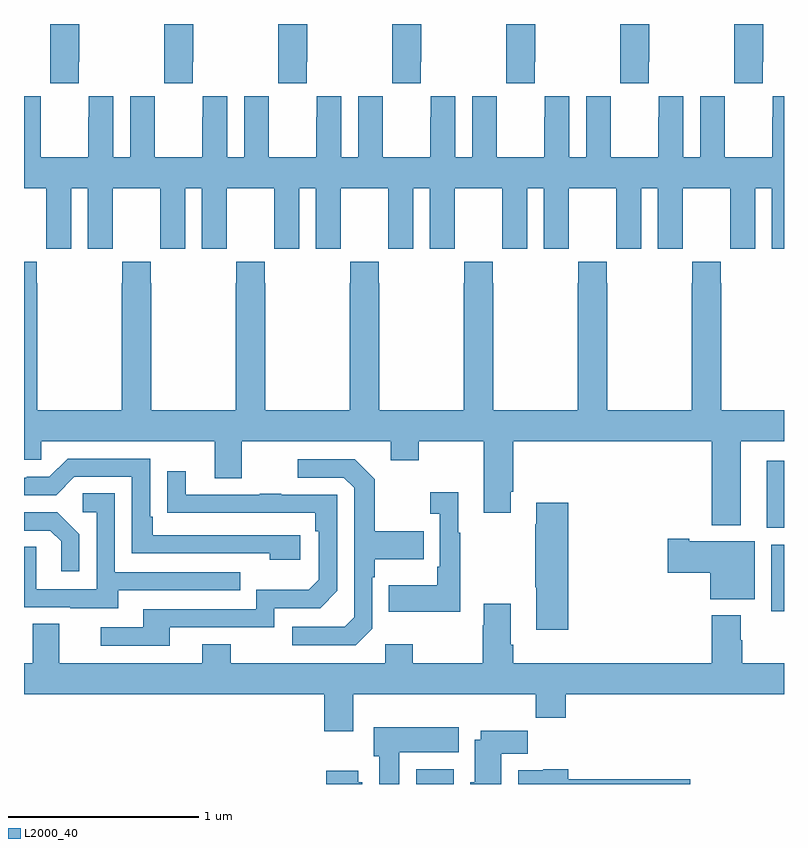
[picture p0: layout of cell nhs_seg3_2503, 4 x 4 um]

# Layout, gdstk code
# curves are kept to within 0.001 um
import gdstk
lib = gdstk.Library(unit=1e-6, precision=1e-09)
def R(c, l, rs):  # rectangles x0, y0, x1, y1
    for r in rs: c.add(gdstk.rectangle(r[:2], r[2:], *l))
def P(c, l, *ps):  # polygons
    for p in ps: c.add(gdstk.Polygon(p, *l))
L2000_40 = (2000, 40)

nhs_seg3_2503 = lib.new_cell('nhs_seg3_2503')
R(nhs_seg3_2503, L2000_40, [(241.064,744.4,241.261,744.478), (242.933,745.308,243,745.66), (242.909,745.748,243,746.101)])
P(nhs_seg3_2503, L2000_40, [(239.889,748.201),(239.892,748.201),(239.892,748.4),(239.737,748.4),(239.737,748.201),(239.739,748.201),(239.739,748.089),(239.889,748.089)],
  [(239.289,748.201),(239.292,748.201),(239.292,748.4),(239.137,748.4),(239.137,748.201),(239.139,748.201),(239.139,748.089),(239.289,748.089)],
  [(242.889,748.201),(242.892,748.201),(242.892,748.4),(242.737,748.4),(242.737,748.201),(242.739,748.201),(242.739,748.089),(242.889,748.089)],
  [(242.289,748.201),(242.292,748.201),(242.292,748.4),(242.137,748.4),(242.137,748.201),(242.139,748.201),(242.139,748.089),(242.289,748.089)],
  [(241.089,748.201),(241.092,748.201),(241.092,748.4),(240.937,748.4),(240.937,748.201),(240.939,748.201),(240.939,748.089),(241.089,748.089)],
  [(240.489,748.201),(240.492,748.201),(240.492,748.4),(240.337,748.4),(240.337,748.201),(240.339,748.201),(240.339,748.089),(240.489,748.089)],
  [(241.689,748.201),(241.692,748.201),(241.692,748.4),(241.537,748.4),(241.537,748.201),(241.539,748.201),(241.539,748.089),(241.689,748.089)],
  [(242.466,747.328),(242.467,747.328),(242.467,747.536),(242.717,747.536),(242.717,747.328),(242.718,747.328),(242.718,747.216),(242.848,747.216),(242.848,747.536),(242.936,747.536),(242.936,747.216),(243,747.216),(243,748.021),(242.94,748.021),(242.94,747.908),(242.939,747.908),(242.939,747.7),(242.689,747.7),(242.689,747.908),(242.688,747.908),(242.688,748.021),(242.558,748.021),(242.558,747.7),(242.47,747.7),(242.47,748.021),(242.34,748.021),(242.34,747.908),(242.339,747.908),(242.339,747.7),(242.089,747.7),(242.089,747.908),(242.088,747.908),(242.088,748.021),(241.958,748.021),(241.958,747.7),(241.87,747.7),(241.87,748.021),(241.74,748.021),(241.74,747.908),(241.739,747.908),(241.739,747.7),(241.489,747.7),(241.489,747.908),(241.488,747.908),(241.488,748.021),(241.358,748.021),(241.358,747.7),(241.27,747.7),(241.27,748.021),(241.14,748.021),(241.14,747.908),(241.139,747.908),(241.139,747.7),(240.889,747.7),(240.889,747.908),(240.888,747.908),(240.888,748.021),(240.758,748.021),(240.758,747.7),(240.67,747.7),(240.67,748.021),(240.54,748.021),(240.54,747.908),(240.539,747.908),(240.539,747.7),(240.289,747.7),(240.289,747.908),(240.288,747.908),(240.288,748.021),(240.158,748.021),(240.158,747.7),(240.07,747.7),(240.07,748.021),(239.94,748.021),(239.94,747.908),(239.939,747.908),(239.939,747.7),(239.689,747.7),(239.689,747.908),(239.688,747.908),(239.688,748.021),(239.558,748.021),(239.558,747.7),(239.47,747.7),(239.47,748.021),(239.34,748.021),(239.34,747.908),(239.339,747.908),(239.339,747.7),(239.089,747.7),(239.089,747.908),(239.088,747.908),(239.088,748.021),(239,748.021),(239,747.536),(239.117,747.536),(239.117,747.328),(239.118,747.328),(239.118,747.216),(239.248,747.216),(239.248,747.536),(239.336,747.536),(239.336,747.216),(239.466,747.216),(239.466,747.328),(239.467,747.328),(239.467,747.536),(239.717,747.536),(239.717,747.328),(239.718,747.328),(239.718,747.216),(239.848,747.216),(239.848,747.536),(239.936,747.536),(239.936,747.216),(240.066,747.216),(240.066,747.328),(240.067,747.328),(240.067,747.536),(240.317,747.536),(240.317,747.328),(240.318,747.328),(240.318,747.216),(240.448,747.216),(240.448,747.536),(240.536,747.536),(240.536,747.216),(240.666,747.216),(240.666,747.328),(240.667,747.328),(240.667,747.536),(240.917,747.536),(240.917,747.328),(240.918,747.328),(240.918,747.216),(241.048,747.216),(241.048,747.536),(241.136,747.536),(241.136,747.216),(241.266,747.216),(241.266,747.328),(241.267,747.328),(241.267,747.536),(241.517,747.536),(241.517,747.328),(241.518,747.328),(241.518,747.216),(241.648,747.216),(241.648,747.536),(241.736,747.536),(241.736,747.216),(241.866,747.216),(241.866,747.328),(241.867,747.328),(241.867,747.536),(242.117,747.536),(242.117,747.328),(242.118,747.328),(242.118,747.216),(242.248,747.216),(242.248,747.536),(242.336,747.536),(242.336,747.216),(242.466,747.216)],
  [(242.773,746.204),(243,746.204),(243,746.368),(242.67,746.368),(242.67,747.035),(242.667,747.035),(242.667,747.148),(242.517,747.148),(242.517,747.035),(242.515,747.035),(242.515,746.368),(242.07,746.368),(242.07,747.035),(242.067,747.035),(242.067,747.148),(241.917,747.148),(241.917,747.035),(241.915,747.035),(241.915,746.368),(241.47,746.368),(241.47,747.035),(241.467,747.035),(241.467,747.148),(241.317,747.148),(241.317,747.035),(241.315,747.035),(241.315,746.368),(240.87,746.368),(240.87,747.035),(240.867,747.035),(240.867,747.148),(240.717,747.148),(240.717,747.035),(240.715,747.035),(240.715,746.368),(240.27,746.368),(240.27,747.035),(240.267,747.035),(240.267,747.148),(240.117,747.148),(240.117,747.035),(240.115,747.035),(240.115,746.368),(239.67,746.368),(239.67,747.035),(239.667,747.035),(239.667,747.148),(239.517,747.148),(239.517,747.035),(239.515,747.035),(239.515,746.368),(239.07,746.368),(239.07,747.035),(239.067,747.035),(239.067,747.148),(239,747.148),(239,746.106),(239.091,746.106),(239.091,746.204),(240.005,746.204),(240.005,746.01),(240.145,746.01),(240.145,746.204),(240.929,746.204),(240.929,746.105),(241.077,746.105),(241.077,746.204),(241.421,746.204),(241.421,745.827),(241.561,745.827),(241.561,745.939),(241.574,745.939),(241.574,746.204),(242.621,746.204),(242.621,745.763),(242.773,745.763)],
  [(240.454,745.71),(239.677,745.71),(239.677,745.807),(239.664,745.807),(239.664,746.112),(239.229,746.112),(239.133,746.016),(239.015,746.016),(239.015,746.013),(239,746.013),(239,745.92),(239.169,745.92),(239.265,746.016),(239.568,746.016),(239.568,745.614),(240.293,745.614),(240.293,745.58),(240.454,745.58)],
  [(240.834,745.218),(240.834,745.487),(240.847,745.487),(240.847,745.583),(241.103,745.583),(241.103,745.731),(240.847,745.731),(240.847,746.003),(240.741,746.109),(240.441,746.109),(240.441,746.013),(240.684,746.013),(240.738,745.959),(240.738,745.278),(240.687,745.227),(240.411,745.227),(240.411,745.131),(240.747,745.131)],
  [(239.767,745.224),(240.318,745.224),(240.318,745.326),(240.558,745.326),(240.648,745.416),(240.648,745.923),(240.353,745.923),(240.353,745.928),(240.241,745.928),(240.241,745.923),(239.851,745.923),(239.851,746.047),(239.755,746.047),(239.755,745.828),(240.532,745.827),(240.532,745.73),(240.552,745.73),(240.552,745.476),(240.499,745.423),(240.222,745.423),(240.222,745.32),(239.627,745.32),(239.627,745.224),(239.403,745.224),(239.403,745.128),(239.767,745.128)],
  [(241.297,745.723),(241.285,745.723),(241.285,745.936),(241.137,745.936),(241.137,745.823),(241.188,745.823),(241.188,745.543),(241.176,745.543),(241.176,745.447),(240.919,745.447),(240.919,745.307),(241.297,745.307)],
  [(239.497,745.419),(240.137,745.419),(240.137,745.515),(239.478,745.515),(239.478,745.931),(239.31,745.931),(239.31,745.83),(239.382,745.83),(239.382,745.425),(239.064,745.425),(239.064,745.649),(239,745.649),(239,745.329),(239.243,745.329),(239.243,745.325),(239.497,745.325)],
  [(241.865,745.879),(241.697,745.879),(241.697,745.766),(241.69,745.766),(241.69,745.435),(241.697,745.435),(241.697,745.212),(241.865,745.212)],
  [(239.292,745.714),(239.176,745.83),(239,745.83),(239,745.734),(239.138,745.734),(239.195,745.677),(239.195,745.521),(239.292,745.521)],
  [(242.845,745.678),(242.5,745.678),(242.5,745.691),(242.388,745.691),(242.388,745.513),(242.612,745.513),(242.612,745.373),(242.845,745.373)],
  [(240.733,744.872),(241.693,744.872),(241.693,744.748),(241.85,744.748),(241.85,744.872),(243,744.872),(243,745.036),(242.781,745.036),(242.781,745.157),(242.773,745.157),(242.773,745.288),(242.621,745.288),(242.621,745.036),(241.574,745.036),(241.574,745.132),(241.561,745.132),(241.561,745.348),(241.421,745.348),(241.421,745.235),(241.414,745.235),(241.414,745.036),(241.047,745.036),(241.047,745.135),(240.9,745.135),(240.9,745.036),(240.087,745.036),(240.087,745.135),(239.939,745.135),(239.939,745.036),(239.185,745.036),(239.185,745.244),(239.045,745.244),(239.045,745.036),(239,745.036),(239,744.872),(240.581,744.872),(240.581,744.678),(240.733,744.678)],
  [(240.976,744.566),(241.288,744.566),(241.288,744.7),(240.842,744.7),(240.842,744.546),(240.869,744.546),(240.869,744.4),(240.976,744.4)],
  [(241.513,744.56),(241.652,744.56),(241.652,744.679),(241.403,744.679),(241.403,744.634),(241.373,744.634),(241.373,744.408),(241.349,744.408),(241.349,744.4),(241.513,744.4)],
  [(242.506,744.424),(241.865,744.424),(241.865,744.478),(241.734,744.478),(241.734,744.472),(241.601,744.472),(241.601,744.4),(242.506,744.4)],
  [(240.781,744.408),(240.76,744.408),(240.76,744.469),(240.59,744.469),(240.59,744.4),(240.781,744.4)])

lib.write_gds('nhs_seg3_2503.gds')
